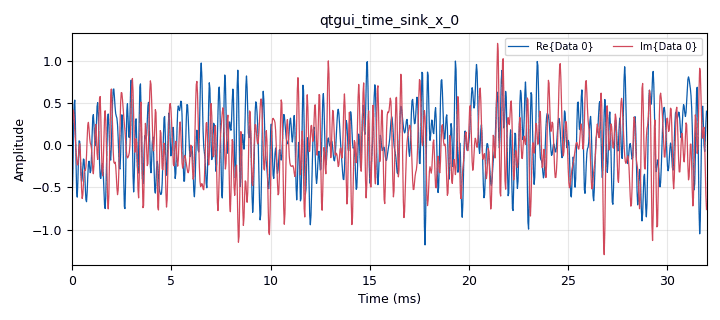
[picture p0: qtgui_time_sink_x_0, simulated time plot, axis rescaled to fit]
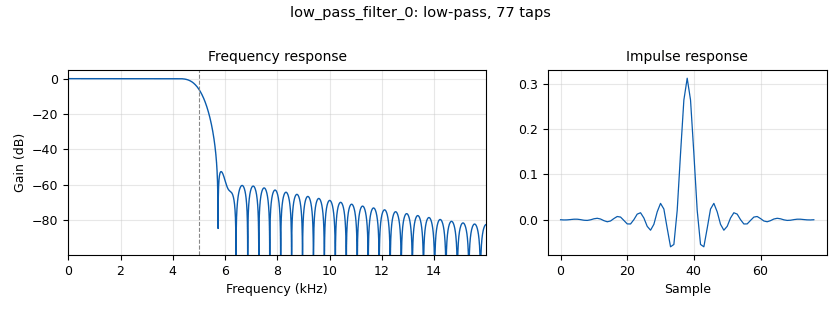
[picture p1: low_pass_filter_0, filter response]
options:
  parameters:
    author: anunn
    generate_options: qt_gui
    id: Test3
    output_language: python
    title: Not titled yet
  states: {}

blocks:
- name: samp_rate
  id: variable
  parameters:
    value: '32000'
  states: {}
- name: analog_noise_source_x_0
  id: analog_noise_source_x
  parameters:
    amp: '1'
    noise_type: analog.GR_GAUSSIAN
    seed: '0'
    type: complex
  states: {}
- name: blocks_throttle2_0
  id: blocks_throttle2
  parameters:
    samples_per_second: samp_rate
    type: complex
  states: {}
- name: low_pass_filter_0
  id: low_pass_filter
  parameters:
    cutoff_freq: '5000'
    decim: '1'
    gain: '1'
    samp_rate: samp_rate
    type: fir_filter_ccf
    width: '1000'
    win: window.WIN_HAMMING
  states: {}
- name: qtgui_time_sink_x_0
  id: qtgui_time_sink_x
  parameters:
    size: '1024'
    srate: samp_rate
    type: complex
  states: {}

connections:
- [analog_noise_source_x_0, '0', blocks_throttle2_0, '0']
- [blocks_throttle2_0, '0', low_pass_filter_0, '0']
- [low_pass_filter_0, '0', qtgui_time_sink_x_0, '0']

metadata:
  file_format: 1
  grc_version: 3.10.12.0
